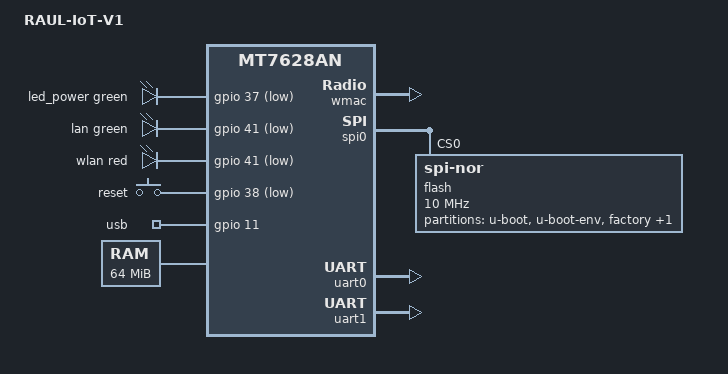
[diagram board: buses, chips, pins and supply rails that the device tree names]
#include "mt7628an.dtsi"

#include <dt-bindings/gpio/gpio.h>
#include <dt-bindings/input/input.h>
#include <dt-bindings/leds/common.h>

/{
        compatible = "raul,raul-IoT-v1", "mediatek,mt7628an-soc";
        model = "RAUL-IoT-V1";

        aliases {
                led-boot = &led_power;
                led-failsafe = &led_power;
                led-running = &led_power;
                led-upgrade = &led_power;
                label-mac-device = &ethernet;
        };

        chosen {
                bootargs = "console=ttyS1,115200";
        };

        leds {
                compatible = "gpio-leds";

                led_power: power {
                        function = LED_FUNCTION_POWER;
                        color = <LED_COLOR_ID_GREEN>;
                        default-state = "on";
                        gpios = <&gpio 37 GPIO_ACTIVE_LOW>;
                };

                lan {
                        function = LED_FUNCTION_WAN;
                        color = <LED_COLOR_ID_GREEN>;
                        gpios = <&gpio 41 GPIO_ACTIVE_LOW>;
                };

                wlan {
                        function = LED_FUNCTION_WLAN;
                        color = <LED_COLOR_ID_RED>;
                        gpios = <&gpio 41 GPIO_ACTIVE_LOW>;
                };
        };

        keys {
                compatible = "gpio-keys";

                reset {
                        label = "reset";
                        gpios = <&gpio 38 GPIO_ACTIVE_LOW>;
                        linux,code = <KEY_RESTART>;
                };
        };

        gpio_export {
                compatible = "gpio-export";

                usb {
                        gpio-export,name = "usb";
                        gpio-export,output = <1>;
                        gpios = <&gpio 11 GPIO_ACTIVE_HIGH>;
                };
        };

        memory@0 {
                device_type = "memory";
                reg = <0x0 0x4000000>; // 64MB
        };
};

&state_default {
        gpio {
                groups = "wdt", "gpio", "wled_an", "p0led_an", "p1led_an", "i2s", "i2c";
                function = "gpio";
        };
};

&ethernet {
        nvmem-cells = <&macaddr_factory_4>;
        nvmem-cell-names = "mac-address";
};

&wmac {
        status = "okay";

        nvmem-cells = <&eeprom_factory_0>;
        nvmem-cell-names = "eeprom";
};

&spi0 {
        status = "okay";

        flash@0 {
                compatible = "jedec,spi-nor";
                reg = <0>;
                spi-max-frequency = <10000000>;

                partitions {
                        compatible = "fixed-partitions";
                        #address-cells = <1>;
                        #size-cells = <1>;

                        partition@0 {
                                label = "u-boot";
                                reg = <0x0 0x30000>;
                                read-only;
                        };

                        partition@30000 {
                                label = "u-boot-env";
                                reg = <0x30000 0x10000>;
                                read-only;
                        };

                        partition@40000 {
                                label = "factory";
                                reg = <0x40000 0x10000>;
                                read-only;

                                nvmem-layout {
                                        compatible = "fixed-layout";
                                        #address-cells = <1>;
                                        #size-cells = <1>;

                                        eeprom_factory_0: eeprom@0 {
                                                reg = <0x0 0x400>;
                                        };

                                        macaddr_factory_4: macaddr@4 {
                                                reg = <0x4 0x6>;
                                        };
                                };
                        };

                        partition@50000 {
                                compatible = "denx,uimage";
                                label = "firmware";
                                reg = <0x50000 0xfb0000>;
                        };
                };
        };
};

&uart0 { // Zigbee 串口
        status = "okay";
};

&uart1 { // 控制台串口
        status = "okay";
};

